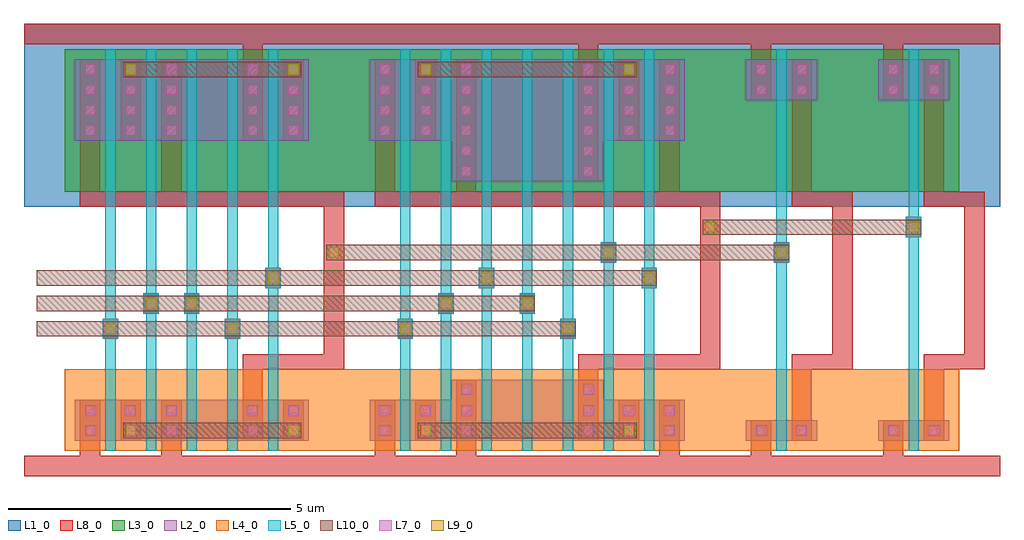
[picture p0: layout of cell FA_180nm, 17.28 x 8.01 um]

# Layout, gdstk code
import gdstk
lib = gdstk.Library(unit=1e-6, precision=1e-12)
def R(c, l, rs):  # rectangles x0, y0, x1, y1
    for r in rs: c.add(gdstk.rectangle(r[:2], r[2:], *l))
def A(c, l, x, y, w, h, nx, ny, dx, dy):  # array of equal rectangles
    R(c, l, [(x+i*dx, y+j*dy, x+i*dx+w, y+j*dy+h) for i in range(nx) for j in range(ny)])
L1_0 = (1, 0)
L2_0 = (2, 0)
L3_0 = (3, 0)
L4_0 = (4, 0)
L5_0 = (5, 0)
L7_0 = (7, 0)
L8_0 = (8, 0)
L9_0 = (9, 0)
L10_0 = (10, 0)

fa_180nm = lib.new_cell('FA_180nm')
R(fa_180nm, L1_0, [(0,4.77,17.28,8.01)])
A(fa_180nm, L2_0, 0.9, 0.63, 0.54, 0.72, 6, 1, 0.72, 0)
A(fa_180nm, L2_0, 1.44, 0.63, 0.18, 0.72, 5, 1, 0.72, 0)
A(fa_180nm, L2_0, 7.56, 0.63, 0.54, 1.08, 4, 1, 0.72, 0)
A(fa_180nm, L2_0, 8.1, 0.63, 0.18, 1.08, 3, 1, 0.72, 0)
A(fa_180nm, L2_0, 7.56, 5.22, 0.54, 2.16, 4, 1, 0.72, 0)
A(fa_180nm, L2_0, 8.1, 5.22, 0.18, 2.16, 3, 1, 0.72, 0)
A(fa_180nm, L2_0, 0.9, 5.94, 0.54, 1.44, 6, 1, 0.72, 0)
A(fa_180nm, L2_0, 1.44, 5.94, 0.18, 1.44, 5, 1, 0.72, 0)
R(fa_180nm, L2_0, [(6.12,0.63,6.66,1.35), (6.66,0.63,6.84,1.35), (6.84,0.63,7.38,1.35), (7.38,0.63,7.56,1.35), (10.26,0.63,10.44,1.35), (10.44,0.63,10.98,1.35), (10.98,0.63,11.16,1.35), (11.16,0.63,11.7,1.35), (12.78,0.63,13.32,0.99), (13.32,0.63,13.5,0.99), (13.5,0.63,14.04,0.99), (15.12,0.63,15.66,0.99), (15.66,0.63,15.84,0.99), (15.84,0.63,16.38,0.99), (6.12,5.94,6.66,7.38), (6.66,5.94,6.84,7.38), (6.84,5.94,7.38,7.38), (7.38,5.94,7.56,7.38), (10.26,5.94,10.44,7.38), (10.44,5.94,10.98,7.38), (10.98,5.94,11.16,7.38), (11.16,5.94,11.7,7.38), (12.78,6.66,13.32,7.38), (13.32,6.66,13.5,7.38), (13.5,6.66,14.04,7.38), (15.12,6.66,15.66,7.38), (15.66,6.66,15.84,7.38), (15.84,6.66,16.38,7.38)])
R(fa_180nm, L3_0, [(0.72,5.04,16.56,7.56)])
R(fa_180nm, L4_0, [(0.72,0.45,16.56,1.89)])
A(fa_180nm, L5_0, 1.44, 0.45, 0.18, 7.11, 5, 1, 0.72, 0)
A(fa_180nm, L5_0, 6.66, 0.45, 0.18, 7.11, 7, 1, 0.72, 0)
R(fa_180nm, L5_0, [(13.32,0.45,13.5,7.56), (15.66,0.45,15.84,7.56), (1.395,2.43,1.665,2.79), (3.555,2.43,3.825,2.79), (6.615,2.43,6.885,2.79), (9.495,2.43,9.765,2.79), (2.115,2.88,2.385,3.24), (2.835,2.88,3.105,3.24), (7.335,2.88,7.605,3.24), (8.775,2.88,9.045,3.24), (4.275,3.33,4.545,3.69), (8.055,3.33,8.325,3.69), (10.935,3.33,11.205,3.69), (10.215,3.78,10.485,4.14), (13.275,3.78,13.545,4.14), (15.615,4.23,15.885,4.59)])
A(fa_180nm, L7_0, 1.08, 0.72, 0.18, 0.18, 3, 2, 0.72, 0.36)
A(fa_180nm, L7_0, 6.3, 0.72, 0.18, 0.18, 3, 2, 0.72, 0.36)
A(fa_180nm, L7_0, 9.9, 0.72, 0.18, 0.18, 3, 2, 0.72, 0.36)
A(fa_180nm, L7_0, 1.08, 6.03, 0.18, 0.18, 3, 4, 0.72, 0.36)
A(fa_180nm, L7_0, 3.96, 6.03, 0.18, 0.18, 1, 4, 0, 0.36)
A(fa_180nm, L7_0, 4.68, 6.03, 0.18, 0.18, 1, 4, 0, 0.36)
A(fa_180nm, L7_0, 6.3, 6.03, 0.18, 0.18, 3, 4, 0.72, 0.36)
A(fa_180nm, L7_0, 9.9, 6.03, 0.18, 0.18, 3, 4, 0.72, 0.36)
R(fa_180nm, L7_0, [(3.96,0.72,4.14,0.9), (4.68,0.72,4.86,0.9), (12.96,0.72,13.14,0.9), (13.68,0.72,13.86,0.9), (15.3,0.72,15.48,0.9), (16.02,0.72,16.2,0.9), (3.96,1.08,4.14,1.26), (4.68,1.08,4.86,1.26), (7.74,1.44,7.92,1.62), (9.9,1.44,10.08,1.62), (1.44,2.52,1.62,2.7), (3.6,2.52,3.78,2.7), (6.66,2.52,6.84,2.7), (9.54,2.52,9.72,2.7), (2.16,2.97,2.34,3.15), (2.88,2.97,3.06,3.15), (7.38,2.97,7.56,3.15), (8.82,2.97,9,3.15), (4.32,3.42,4.5,3.6), (8.1,3.42,8.28,3.6), (10.98,3.42,11.16,3.6), (10.26,3.87,10.44,4.05), (13.32,3.87,13.5,4.05), (15.66,4.32,15.84,4.5), (7.74,5.31,7.92,5.49), (9.9,5.31,10.08,5.49), (7.74,5.67,7.92,5.85), (9.9,5.67,10.08,5.85), (12.96,6.75,13.14,6.93), (13.68,6.75,13.86,6.93), (15.3,6.75,15.48,6.93), (16.02,6.75,16.2,6.93), (12.96,7.11,13.14,7.29), (13.68,7.11,13.86,7.29), (15.3,7.11,15.48,7.29), (16.02,7.11,16.2,7.29)])
A(fa_180nm, L8_0, 11.97, 1.89, 0.36, 3.15, 3, 1, 2.34, 0)
A(fa_180nm, L8_0, 11.25, 4.77, 0.36, 2.61, 3, 1, 2.34, 0)
R(fa_180nm, L8_0, [(0,0,17.28,0.36), (0.99,0,1.35,1.35), (2.43,0,2.79,1.35), (6.21,0,6.57,1.35), (7.65,0,8.01,1.71), (11.25,0,11.61,1.35), (12.87,0,13.23,0.99), (15.21,0,15.57,0.99), (1.71,0.63,2.07,1.35), (3.87,0.63,4.23,2.16), (4.59,0.63,4.95,1.35), (6.93,0.63,7.29,1.35), (9.81,0.63,10.17,2.16), (10.53,0.63,10.89,1.35), (13.59,0.63,13.95,2.16), (15.93,0.63,16.29,2.16), (3.87,1.89,5.67,2.16), (5.31,1.89,5.67,5.04), (9.81,1.89,12.33,2.16), (13.59,1.89,14.67,2.16), (15.93,1.89,17.01,2.16), (1.395,2.43,1.665,2.79), (3.555,2.43,3.825,2.79), (6.615,2.43,6.885,2.79), (9.495,2.43,9.765,2.79), (2.115,2.88,2.385,3.24), (2.835,2.88,3.105,3.24), (7.335,2.88,7.605,3.24), (8.775,2.88,9.045,3.24), (4.275,3.33,4.545,3.69), (8.055,3.33,8.325,3.69), (10.935,3.33,11.205,3.69), (10.215,3.78,10.485,4.14), (13.275,3.78,13.545,4.14), (15.615,4.23,15.885,4.59), (0.99,4.77,1.35,7.38), (0.99,4.77,5.67,5.04), (2.43,4.77,2.79,7.38), (6.21,4.77,6.57,7.38), (6.21,4.77,12.33,5.04), (7.65,4.77,8.01,7.38), (13.59,4.77,14.67,5.04), (15.93,4.77,17.01,5.04), (9.81,5.22,10.17,8.01), (1.71,5.94,2.07,7.38), (3.87,5.94,4.23,8.01), (4.59,5.94,4.95,7.38), (6.93,5.94,7.29,7.38), (10.53,5.94,10.89,7.38), (12.87,6.66,13.23,8.01), (15.21,6.66,15.57,8.01), (0,7.65,17.28,8.01)])
R(fa_180nm, L9_0, [(1.8,0.72,1.98,0.9), (4.68,0.72,4.86,0.9), (7.02,0.72,7.2,0.9), (10.62,0.72,10.8,0.9), (1.44,2.52,1.62,2.7), (3.6,2.52,3.78,2.7), (6.66,2.52,6.84,2.7), (9.54,2.52,9.72,2.7), (2.16,2.97,2.34,3.15), (2.88,2.97,3.06,3.15), (7.38,2.97,7.56,3.15), (8.82,2.97,9,3.15), (4.32,3.42,4.5,3.6), (8.1,3.42,8.28,3.6), (10.98,3.42,11.16,3.6), (5.4,3.87,5.58,4.05), (10.26,3.87,10.44,4.05), (13.32,3.87,13.5,4.05), (12.06,4.32,12.24,4.5), (15.66,4.32,15.84,4.5), (1.8,7.11,1.98,7.29), (4.68,7.11,4.86,7.29), (7.02,7.11,7.2,7.29), (10.62,7.11,10.8,7.29)])
R(fa_180nm, L10_0, [(1.755,0.675,4.905,0.945), (6.975,0.675,10.845,0.945), (0.225,2.475,9.765,2.745), (0.225,2.925,9.045,3.195), (0.225,3.375,11.205,3.645), (5.355,3.825,13.545,4.095), (12.015,4.275,15.885,4.545), (1.755,7.065,4.905,7.335), (6.975,7.065,10.845,7.335)])

lib.write_gds('FA_180nm.gds')
